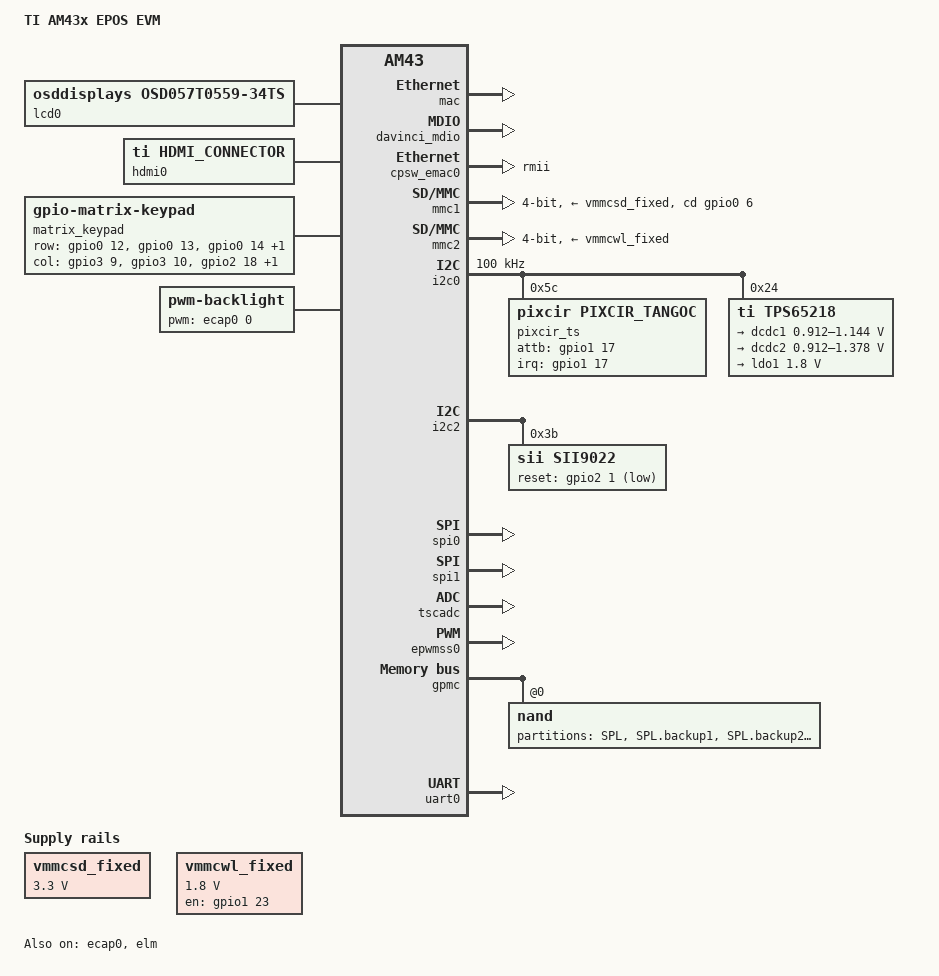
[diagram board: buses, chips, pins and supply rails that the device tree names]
/*
 * Copyright (C) 2013 Texas Instruments Incorporated - http://www.ti.com/
 *
 * This program is free software; you can redistribute it and/or modify
 * it under the terms of the GNU General Public License version 2 as
 * published by the Free Software Foundation.
 */

/* AM43x EPOS EVM */

/dts-v1/;

#include "am43x-common-evm.dtsi"
#include <dt-bindings/pinctrl/am43xx.h>
#include <dt-bindings/gpio/gpio.h>
#include <dt-bindings/pwm/pwm.h>

/ {
	model = "TI AM43x EPOS EVM";
	compatible = "ti,am43x-epos-evm","ti,am4372","ti,am43";

	vmmcsd_fixed: fixedregulator-sd {
		compatible = "regulator-fixed";
		regulator-name = "vmmcsd_fixed";
		regulator-min-microvolt = <3300000>;
		regulator-max-microvolt = <3300000>;
		enable-active-high;
	};


	vmmcwl_fixed: fixedregulator-mmcwl {
		compatible = "regulator-fixed";
		regulator-name = "vmmcwl_fixed";
		regulator-min-microvolt = <1800000>;
		regulator-max-microvolt = <1800000>;
		gpio = <&gpio1 23 0>;
		startup-delay-us = <70000>;
		enable-active-high;
	};

	wlcore {
		compatible = "wlcore";
		gpio = <31>;
		pinctrl-names = "default";
	};

	aliases {
		display0 = &lcd0;
		display1 = &hdmi0;
	};

	lcd0: display@0 {
		compatible = "osddisplays,osd057T0559-34ts", "panel-dpi";
		video-source = <&dpi>;
		data-lines = <24>;
		panel-timing {
			clock-frequency = <33000000>;
			hactive = <800>;
			vactive = <480>;
			hfront-porch = <210>;
			hback-porch = <16>;
			hsync-len = <30>;
			vback-porch = <10>;
			vfront-porch = <22>;
			vsync-len = <13>;
			hsync-active = <0>;
			vsync-active = <0>;
			de-active = <1>;
			pixelclk-active = <1>;
		};
	};

	hdmi0: connector@1 {
		compatible = "ti,hdmi_connector";
		video-source = <&sii9022>;
	};

	matrix_keypad:matrix_keypad@0 {
		compatible = "gpio-matrix-keypad";
		debounce-delay-ms = <5>;
		col-scan-delay-us = <2>;

		row-gpios = <&gpio0 12 GPIO_ACTIVE_HIGH	/* Bank0, pin12 */
				&gpio0 13 GPIO_ACTIVE_HIGH /* Bank0, pin13 */
				&gpio0 14 GPIO_ACTIVE_HIGH /* Bank0, pin14 */
				&gpio0 15 GPIO_ACTIVE_HIGH>; /* Bank0, pin15 */

		col-gpios = <&gpio3 9 GPIO_ACTIVE_HIGH /* Bank3, pin9 */
				&gpio3 10 GPIO_ACTIVE_HIGH /* Bank3, pin10 */
				&gpio2 18 GPIO_ACTIVE_HIGH /* Bank2, pin18 */
				&gpio2 19 GPIO_ACTIVE_HIGH>; /* Bank2, pin19 */

		linux,keymap = <0x00000201      /* P1 */
				0x01000204      /* P4 */
				0x02000207      /* P7 */
				0x0300020a      /* NUMERIC_STAR */
				0x00010202      /* P2 */
				0x01010205      /* P5 */
				0x02010208      /* P8 */
				0x03010200      /* P0 */
				0x00020203      /* P3 */
				0x01020206      /* P6 */
				0x02020209      /* P9 */
				0x0302020b      /* NUMERIC_POUND */
				0x00030067      /* UP */
				0x0103006a      /* RIGHT */
				0x0203006c      /* DOWN */
				0x03030069>;    /* LEFT */
	};

	backlight {
		compatible = "pwm-backlight";
		pwms = <&ecap0 0 50000 PWM_POLARITY_INVERTED>;
		brightness-levels = <0 51 53 56 62 75 101 152 255>;
		default-brightness-level = <8>;
	};

	cpus {
		cpu@0 {
			cpu0-supply = <&dcdc2>;
		};
	};
};

&am43xx_pinmux {

	cpsw_default: cpsw_default {
		pinctrl-single,pins = <
			/* Slave 1 */
			0x10c (PIN_INPUT_PULLDOWN | MUX_MODE1)	/* mii1_crs.rmii1_crs */
			0x110 (PIN_INPUT_PULLDOWN | MUX_MODE1)	/* mii1_rxerr.rmii1_rxerr */
			0x114 (PIN_OUTPUT_PULLDOWN | MUX_MODE1)	/* mii1_txen.rmii1_txen */
			0x118 (PIN_INPUT_PULLDOWN | MUX_MODE1)	/* mii1_rxdv.rmii1_rxdv */
			0x124 (PIN_OUTPUT_PULLDOWN | MUX_MODE1)	/* mii1_txd1.rmii1_txd1 */
			0x128 (PIN_OUTPUT_PULLDOWN | MUX_MODE1)	/* mii1_txd0.rmii1_txd0 */
			0x13c (PIN_INPUT_PULLDOWN | MUX_MODE1)	/* mii1_rxd1.rmii1_rxd1 */
			0x140 (PIN_INPUT_PULLDOWN | MUX_MODE1)	/* mii1_rxd0.rmii1_rxd0 */
			0x144 (PIN_INPUT_PULLDOWN | MUX_MODE0)	/* rmii1_refclk.rmii1_refclk */
		>;
	};

	cpsw_sleep: cpsw_sleep {
		pinctrl-single,pins = <
			/* Slave 1 reset value */
			0x10c (PIN_INPUT_PULLDOWN | MUX_MODE7)
			0x110 (PIN_INPUT_PULLDOWN | MUX_MODE7)
			0x114 (PIN_INPUT_PULLDOWN | MUX_MODE7)
			0x118 (PIN_INPUT_PULLDOWN | MUX_MODE7)
			0x124 (PIN_INPUT_PULLDOWN | MUX_MODE7)
			0x128 (PIN_INPUT_PULLDOWN | MUX_MODE7)
			0x13c (PIN_INPUT_PULLDOWN | MUX_MODE7)
			0x140 (PIN_INPUT_PULLDOWN | MUX_MODE7)
			0x144 (PIN_INPUT_PULLDOWN | MUX_MODE7)
		>;
	};

	davinci_mdio_default: davinci_mdio_default {
		pinctrl-single,pins = <
			/* MDIO */
			0x148 (PIN_INPUT_PULLUP | SLEWCTRL_FAST | MUX_MODE0)	/* mdio_data.mdio_data */
			0x14c (PIN_OUTPUT_PULLUP | MUX_MODE0)			/* mdio_clk.mdio_clk */
		>;
	};

	davinci_mdio_sleep: davinci_mdio_sleep {
		pinctrl-single,pins = <
			/* MDIO reset value */
			0x148 (PIN_INPUT_PULLDOWN | MUX_MODE7)
			0x14c (PIN_INPUT_PULLDOWN | MUX_MODE7)
		>;
	};

	mmc1_pins: pinmux_mmc1_pins {
		pinctrl-single,pins = <
			0x160 (PIN_INPUT | MUX_MODE7) /* spi0_cs1.gpio0_6 */
		>;
	};

	mmc2_pins: pinmux_mmc2_pins {
		pinctrl-single,pins = <
			0x210 (PIN_INPUT_PULLUP | MUX_MODE1)      /*cam0_data2.mmc1_clk  */
			0x214 (PIN_INPUT_PULLUP | MUX_MODE1)      /*cam0_data3.mmc1_cmd  */
			0x218 (PIN_INPUT_PULLUP | MUX_MODE1)      /*cam0_data4.mmc1_dat0 */
			0x21c (PIN_INPUT_PULLUP | MUX_MODE1)      /*cam0_data5.mmc1_dat1 */
			0x220 (PIN_INPUT_PULLUP | MUX_MODE1)      /*cam0_data6.mmc1_dat2 */
			0x224 (PIN_INPUT_PULLUP | MUX_MODE1)      /*cam0_data7.mmc1_dat3 */
			0x05c (PIN_OUTPUT | MUX_MODE7)            /*gpmc_a7.gpio1_23 */
		>;
	};

	i2c0_pins: pinmux_i2c0_pins {
		pinctrl-single,pins = <
			0x188 (PIN_INPUT_PULLUP | SLEWCTRL_FAST | MUX_MODE0)	/* i2c0_sda.i2c0_sda */
			0x18c (PIN_INPUT_PULLUP | SLEWCTRL_FAST | MUX_MODE0)	/* i2c0_scl.i2c0_scl */
		>;
	};

	i2c2_pins: pinmux_i2c2_pins {
		pinctrl-single,pins = <
			0x1c0 (PIN_INPUT_PULLUP | SLEWCTRL_FAST | MUX_MODE8)    /* i2c2_sda.i2c2_sda */
			0x1c4 (PIN_INPUT_PULLUP | SLEWCTRL_FAST | MUX_MODE8)    /* i2c2_scl.i2c2_scl */
		>;
	};

	spi0_pins: pinmux_spi0_pins {
		pinctrl-single,pins = <
			0x150 (PIN_INPUT | MUX_MODE0)           /* spi0_clk.spi0_clk */
			0x154 (PIN_OUTPUT | MUX_MODE0)           /* spi0_d0.spi0_d0 */
			0x158 (PIN_INPUT | MUX_MODE0)           /* spi0_d1.spi0_d1 */
			0x15c (PIN_OUTPUT | MUX_MODE0)          /* spi0_cs0.spi0_cs0 */
		>;
	};

	spi1_pins: pinmux_spi1_pins {
		pinctrl-single,pins = <
			0x190 (PIN_INPUT | MUX_MODE3)           /* mcasp0_aclkx.spi1_clk */
			0x194 (PIN_OUTPUT | MUX_MODE3)           /* mcasp0_fsx.spi1_d0 */
			0x198 (PIN_INPUT | MUX_MODE3)           /* mcasp0_axr0.spi1_d1 */
			0x19c (PIN_OUTPUT | MUX_MODE3)          /* mcasp0_ahclkr.spi1_cs0 */
		>;
	};

	pixcir_ts_pins: pixcir_ts_pins {
		pinctrl-single,pins = <
			0x44 (PIN_INPUT_PULLUP | MUX_MODE7)  /* gpmc_a1.gpio1_17 */
		>;
	};

	dss_pinctrl: dss_pinctrl {
		pinctrl-single,pins = <
			0x020 (PIN_OUTPUT_PULLUP | MUX_MODE1) /*gpmc ad 8 -> DSS DATA 23 */
			0x024 (PIN_OUTPUT_PULLUP | MUX_MODE1)
			0x028 (PIN_OUTPUT_PULLUP | MUX_MODE1)
			0x02C (PIN_OUTPUT_PULLUP | MUX_MODE1)
			0x030 (PIN_OUTPUT_PULLUP | MUX_MODE1)
			0x034 (PIN_OUTPUT_PULLUP | MUX_MODE1)
			0x038 (PIN_OUTPUT_PULLUP | MUX_MODE1)
			0x03C (PIN_OUTPUT_PULLUP | MUX_MODE1) /*gpmc ad 15 -> DSS DATA 16 */
			0x0A0 (PIN_OUTPUT_PULLUP | MUX_MODE0) /* DSS DATA 0 */
			0x0A4 (PIN_OUTPUT_PULLUP | MUX_MODE0)
			0x0A8 (PIN_OUTPUT_PULLUP | MUX_MODE0)
			0x0AC (PIN_OUTPUT_PULLUP | MUX_MODE0)
			0x0B0 (PIN_OUTPUT_PULLUP | MUX_MODE0)
			0x0B4 (PIN_OUTPUT_PULLUP | MUX_MODE0)
			0x0B8 (PIN_OUTPUT_PULLUP | MUX_MODE0)
			0x0BC (PIN_OUTPUT_PULLUP | MUX_MODE0)
			0x0C0 (PIN_OUTPUT_PULLUP | MUX_MODE0)
			0x0C4 (PIN_OUTPUT_PULLUP | MUX_MODE0)
			0x0C8 (PIN_OUTPUT_PULLUP | MUX_MODE0)
			0x0CC (PIN_OUTPUT_PULLUP | MUX_MODE0)
			0x0D0 (PIN_OUTPUT_PULLUP | MUX_MODE0)
			0x0D4 (PIN_OUTPUT_PULLUP | MUX_MODE0)
			0x0D8 (PIN_OUTPUT_PULLUP | MUX_MODE0)
			0x0DC (PIN_OUTPUT_PULLUP | MUX_MODE0) /* DSS DATA 15 */
			0x0E0 (PIN_OUTPUT_PULLUP | MUX_MODE0) /* DSS VSYNC */
			0x0E4 (PIN_OUTPUT_PULLUP | MUX_MODE0) /* DSS HSYNC */
			0x0E8 (PIN_OUTPUT_PULLUP | MUX_MODE0) /* DSS PCLK */
			0x0EC (PIN_OUTPUT_PULLUP | MUX_MODE0) /* DSS AC BIAS EN */
			0x08C (PIN_OUTPUT_PULLUP | MUX_MODE7) /* GPMC CLK -> GPIO 2_1 to select LCD / HDMI */
		>;
	};

	qspi1_default: qspi1_default {
		pinctrl-single,pins = <
			0x7c (PIN_INPUT_PULLUP | MUX_MODE3)
			0x88 (PIN_INPUT_PULLUP | MUX_MODE2)
			0x90 (PIN_INPUT_PULLUP | MUX_MODE3)
			0x94 (PIN_INPUT_PULLUP | MUX_MODE3)
			0x98 (PIN_INPUT_PULLUP | MUX_MODE3)
			0x9c (PIN_INPUT_PULLUP | MUX_MODE3)
		>;
	};

	ecap0_pins: backlight_pins {
		pinctrl-single,pins = <
			0x164 MUX_MODE0		/* eCAP0_in_PWM0_out.eCAP0_in_PWM0_out MODE0 */
		>;

	};

	mcasp1_pins: pinmux_mcasp1_pins {
		pinctrl-single,pins = <
			0x1a0 (PIN_INPUT_PULLDOWN | MUX_MODE3) /* MCASP0_ACLKR/MCASP1_ACLKX */
			0x1a4 (PIN_INPUT_PULLDOWN | MUX_MODE3) /* MCASP0_FSR/MCASP1_FSX */
			0x1a8 (PIN_OUTPUT_PULLDOWN | MUX_MODE3)/* MCASP0_AXR1/MCASP1_AXR0 */
			0x1ac (PIN_INPUT_PULLDOWN | MUX_MODE3) /* MCASP0_AHCLKX/MCASP1_AXR1 */
		>;
	};

	wlirq_pins: pinmux_wlirq_pins {
		pinctrl-single,pins = <
			0x74 (PIN_INPUT | WAKEUP_ENABLE | MUX_MODE7)   /*gpmc_wpn.gpio0_31 */
		>;
	};

	nand_flash_x8: nand_flash_x8 {
		pinctrl-single,pins = <
			0x40 (PIN_OUTPUT_PULLDOWN | MUX_MODE7)	/* gpmc_a0.SELQSPIorNAND/GPIO */
			0x0  (PIN_INPUT_PULLDOWN | MUX_MODE0)	/* gpmc_ad0.gpmc_ad0 */
			0x4  (PIN_INPUT_PULLDOWN | MUX_MODE0)	/* gpmc_ad1.gpmc_ad1 */
			0x8  (PIN_INPUT_PULLDOWN | MUX_MODE0)	/* gpmc_ad2.gpmc_ad2 */
			0xc  (PIN_INPUT_PULLDOWN | MUX_MODE0)	/* gpmc_ad3.gpmc_ad3 */
			0x10 (PIN_INPUT_PULLDOWN | MUX_MODE0)	/* gpmc_ad4.gpmc_ad4 */
			0x14 (PIN_INPUT_PULLDOWN | MUX_MODE0)	/* gpmc_ad5.gpmc_ad5 */
			0x18 (PIN_INPUT_PULLDOWN | MUX_MODE0)	/* gpmc_ad6.gpmc_ad6 */
			0x1c (PIN_INPUT_PULLDOWN | MUX_MODE0)	/* gpmc_ad7.gpmc_ad7 */
			0x70 (PIN_INPUT_PULLUP | MUX_MODE0)	/* gpmc_wait0.gpmc_wait0 */
			0x74 (PIN_OUTPUT_PULLUP | MUX_MODE7)	/* gpmc_wpn.gpmc_wpn */
			0x7c (PIN_OUTPUT | MUX_MODE0)		/* gpmc_csn0.gpmc_csn0  */
			0x90 (PIN_OUTPUT | MUX_MODE0)		/* gpmc_advn_ale.gpmc_advn_ale */
			0x94 (PIN_OUTPUT | MUX_MODE0)		/* gpmc_oen_ren.gpmc_oen_ren */
			0x98 (PIN_OUTPUT | MUX_MODE0)		/* gpmc_wen.gpmc_wen */
			0x9c (PIN_OUTPUT | MUX_MODE0)		/* gpmc_be0n_cle.gpmc_be0n_cle */
		>;
	};

	uart0_pins: uart0_pins {
		pinctrl-single,pins = <
			0x170 (PIN_INPUT_PULLUP | SLEWCTRL_FAST | DS0_PULL_UP_DOWN_EN | MUX_MODE0) /* uart0_rxd.uart0_rxd */
			0x174 (PIN_INPUT_PULLUP | SLEWCTRL_FAST | DS0_PULL_UP_DOWN_EN | MUX_MODE0) /* uart0_txd.uart0_txd */
		>;
	};
};

&gpio0 {
	status = "okay";
};

&gpio1 {
	status = "okay";
};

&gpio2 {
	status = "okay";
};

&gpio3 {
	status = "okay";
};

&dpi {
	pinctrl-names = "default";
	pinctrl-0 = <&dss_pinctrl>;
};

&qspi {
	status = "disabled";
	pinctrl-names = "default";
	pinctrl-0 = <&qspi1_default>;

	qspi-gpio = <&gpio1 16 GPIO_ACTIVE_LOW>;
	spi-max-frequency = <48000000>;
	m25p80@0 {
		compatible = "mx66l51235l";
		spi-max-frequency = <48000000>;
		reg = <0>;
		spi-cpol;
		spi-cpha;
		spi-tx-bus-width = <1>;
		spi-rx-bus-width = <4>;
		#address-cells = <1>;
		#size-cells = <1>;

		/* MTD partition table.
		 * The ROM checks the first four physical blocks
		 * for a valid file to boot and the flash here is
		 * 64KiB block size.
		 */
		partition@0 {
			label = "QSPI.SPL";
			reg = <0x00000000 0x000010000>;
		};
		partition@1 {
			label = "QSPI.SPL.backup1";
			reg = <0x00010000 0x00010000>;
		};
		partition@2 {
			label = "QSPI.SPL.backup2";
			reg = <0x00020000 0x00010000>;
		};
		partition@3 {
			label = "QSPI.SPL.backup3";
			reg = <0x00030000 0x00010000>;
		};
		partition@4 {
			label = "QSPI.u-boot";
			reg = <0x00040000 0x00180000>;
		};
		partition@5 {
			label = "QSPI.u-boot-spl-os";
			reg = <0x001c0000 0x00010000>;
		};
		partition@6 {
			label = "QSPI.u-boot-env";
			reg = <0x001d0000 0x00010000>;
		};
		partition@7 {
			label = "QSPI.u-boot-env.backup1";
			reg = <0x001e0000 0x0010000>;
		};
		partition@8 {
			label = "QSPI.kernel";
			reg = <0x001f0000 0x00500000>;
		};
		partition@9 {
			label = "QSPI.file-system";
			reg = <0x006f0000 0x03910000>;
		};
	};
};

&mac {
	slaves = <1>;
	pinctrl-names = "default", "sleep";
	pinctrl-0 = <&cpsw_default>;
	pinctrl-1 = <&cpsw_sleep>;
	status = "okay";
};

&davinci_mdio {
	pinctrl-names = "default", "sleep";
	pinctrl-0 = <&davinci_mdio_default>;
	pinctrl-1 = <&davinci_mdio_sleep>;
	status = "okay";
};

&cpsw_emac0 {
	phy_id = <&davinci_mdio>, <16>;
	phy-mode = "rmii";
};

&phy_sel {
	rmii-clock-ext;
};

&mmc1 {
	status = "okay";
	vmmc-supply = <&vmmcsd_fixed>;
	bus-width = <4>;
	pinctrl-names = "default";
	pinctrl-0 = <&mmc1_pins>;
	cd-gpios = <&gpio0 6 GPIO_ACTIVE_HIGH>;
};

&mmc2 {
	status = "okay";
	vmmc-supply = <&vmmcwl_fixed>;
	bus-width = <4>;
	pinctrl-names = "default";
	pinctrl-0 = <&mmc2_pins>;
	cap-power-off-card;
	keep-power-in-suspend;
	ti,non-removable;
};

&i2c0 {
	pinctrl-names = "default";
	pinctrl-0 = <&i2c0_pins>;

	/* Set OPP50 (0.95V) for VDD MPU and core */
	sleep-sequence = /bits/ 8 <
		0x02 0x24 0x10 0x6b /* Password unlock 1 */
		0x02 0x24 0x16 0x8A /* Set DCDC1 (Core) to 0.95V */
		0x02 0x24 0x10 0x6A /* Password unlock 2 */
		0x02 0x24 0x17 0x8A /* Set DCDC2 (MPU) to 0.95V */
		0x02 0x24 0x10 0x67 /* Password unlock 3 */
		0x02 0x24 0x1A 0x86 /* Apply DCDC changes */
	>;

	/* Set OPP100 (1.10V) for VDD core */
	wake-sequence = /bits/ 8 <
		0x02 0x24 0x10 0x6B /* Password unlock 2 */
		0x02 0x24 0x16 0x99 /* Set DCDC1 (Core) to 1.1V */
		0x02 0x24 0x10 0x6A /* Password unlock 1 */
		0x02 0x24 0x17 0x99 /* Set DCDC2 (MPU)to 1.1V */
		0x02 0x24 0x10 0x67 /* Password unlock 3 */
		0x02 0x24 0x1A 0x86 /* Apply DCDC changes */
	>;

	status = "okay";
	clock-frequency = <100000>;

	pixcir_ts@5c {
		compatible = "pixcir,pixcir_tangoc";
		pinctrl-names = "default";
		pinctrl-0 = <&pixcir_ts_pins>;
		reg = <0x5c>;
		interrupt-parent = <&gpio1>;
		interrupts = <17 0>;

		attb-gpio = <&gpio1 17 GPIO_ACTIVE_HIGH>;

		x-size = <1024>;
		y-size = <600>;
	};

	tps65218: tps65218@24 {
		reg = <0x24>;
		compatible = "ti,tps65218";
		interrupts = <GIC_SPI 7 IRQ_TYPE_NONE>; /* NMIn */
		interrupt-parent = <&gic>;
		interrupt-controller;
		#interrupt-cells = <2>;

		dcdc1: regulator-dcdc1 {
			compatible = "ti,tps65218-dcdc1";
			/* VDD_CORE voltage limits min of OPP50 and max of OPP100 */
			regulator-name = "vdd_core";
			regulator-min-microvolt = <912000>;
			regulator-max-microvolt = <1144000>;
			regulator-boot-on;
			regulator-always-on;
		};

		dcdc2: regulator-dcdc2 {
			compatible = "ti,tps65218-dcdc2";
			/* VDD_MPU voltage limits min of OPP50 and max of OPP_NITRO */
			regulator-name = "vdd_mpu";
			regulator-min-microvolt = <912000>;
			regulator-max-microvolt = <1378000>;
			regulator-boot-on;
			regulator-always-on;
		};

		dcdc3: regulator-dcdc3 {
			compatible = "ti,tps65218-dcdc3";
		};

		ldo1: regulator-ldo1 {
			compatible = "ti,tps65218-ldo1";
			regulator-min-microvolt = <1800000>;
			regulator-max-microvolt = <1800000>;
			regulator-boot-on;
			regulator-always-on;
		};
	};
};

&i2c2 {
	pinctrl-names = "default";
	pinctrl-0 = <&i2c2_pins>;
	status = "okay";

	sii9022: sii9022@3b {
		compatible = "sii,sii9022";
		reg = <0x3b>;
		reset-gpio = <&gpio2 1 GPIO_ACTIVE_LOW>;/* 65'SelLCDorHDMI' Gpio, LOW to select HDMI */
		video-source = <&dpi>;
		data-lines = <24>;
	};
};

&spi0 {
	pinctrl-names = "default";
	pinctrl-0 = <&spi0_pins>;
	status = "okay";
};

&spi1 {
	pinctrl-names = "default";
	pinctrl-0 = <&spi1_pins>;
	status = "okay";
};

&tscadc {
	status = "okay";

	adc {
		ti,adc-channels = <0 1 2 3 4 5 6 7>;
	};
};

&ecap0 {
	status = "okay";
	pinctrl-names = "default";
	pinctrl-0 = <&ecap0_pins>;
};

&epwmss0 {
	status = "okay";
};

&elm {
	status = "okay";
};

&gpmc {
	status = "okay";
	pinctrl-names = "default";
	pinctrl-0 = <&nand_flash_x8>;
	ranges = <0 0 0x08000000 0x10000000>;	/* CS0: NAND */
	nand@0,0 {
		reg = <0 0 0>; /* CS0, offset 0 */
		nand-bus-width = <8>;
		ti,nand-ecc-opt = "bch16";
		gpmc,device-width = <1>;
		gpmc,sync-clk-ps = <0>;
		gpmc,cs-on-ns = <0>;
		gpmc,cs-rd-off-ns = <160>; /* tCEA + tCHZ + 1 */
		gpmc,cs-wr-off-ns = <160>;
		gpmc,adv-on-ns = <0>;  /* cs-on-ns */
		gpmc,adv-rd-off-ns = <24>; /* min( tALH + tALS + 1) */
		gpmc,adv-wr-off-ns = <24>; /* min( tALH + tALS + 1) */
		gpmc,we-on-ns = <0>;   /* cs-on-ns */
		gpmc,we-off-ns = <20>; /* we-on-time + tWP + 2 */
		gpmc,oe-on-ns = <3>;  /* cs-on-ns + tRR + 2 */
		gpmc,oe-off-ns = <51>; /* oe-on-ns + tRP + 2 */
		gpmc,access-ns = <40>; /* tCEA + 4*/
		gpmc,rd-cycle-ns = <160>;
		gpmc,wr-cycle-ns = <160>;
		gpmc,wait-on-read = "true";
		gpmc,wait-on-write = "true";
		gpmc,bus-turnaround-ns = <0>;
		gpmc,cycle2cycle-delay-ns = <0>;
		gpmc,clk-activation-ns = <0>;
		gpmc,wait-monitoring-ns = <0>;
		gpmc,wr-access-ns = <40>;
		gpmc,wr-data-mux-bus-ns = <0>;
		#address-cells = <1>;
		#size-cells = <1>;
		ti,elm-id = <&elm>;
		/* MTD partition table */
		partition@0 {
			label = "SPL";
			reg = <0x00000000 0x000040000>;
		};
		partition@1 {
			label = "SPL.backup1";
			reg = <0x00040000 0x00040000>;
		};
		partition@2 {
			label = "SPL.backup2";
			reg = <0x00080000 0x00040000>;
		};
		partition@3 {
			label = "SPL.backup3";
			reg = <0x000C0000 0x00040000>;
		};
		partition@4 {
			label = "u-boot";
			reg = <0x00100000 0x00100000>;
		};
		partition@5 {
			label = "u-boot-spl-os";
			reg = <0x00200000 0x00080000>;
		};
		partition@6 {
			label = "u-boot-env";
			reg = <0x00280000 0x00040000>;
		};
		partition@7 {
			label = "u-boot-env.backup1";
			reg = <0x002c0000 0x00040000>;
		};
		partition@8 {
			label = "kernel";
			reg = <0x00300000 0x00500000>;
		};
		partition@9 {
			label = "file-system";
			reg = <0x00800000 0x0F800000>;
		};
	};
};

&uart0 {
	status = "okay";
	pinctrl-names = "default";
	pinctrl-0 = <&uart0_pins>;
};
